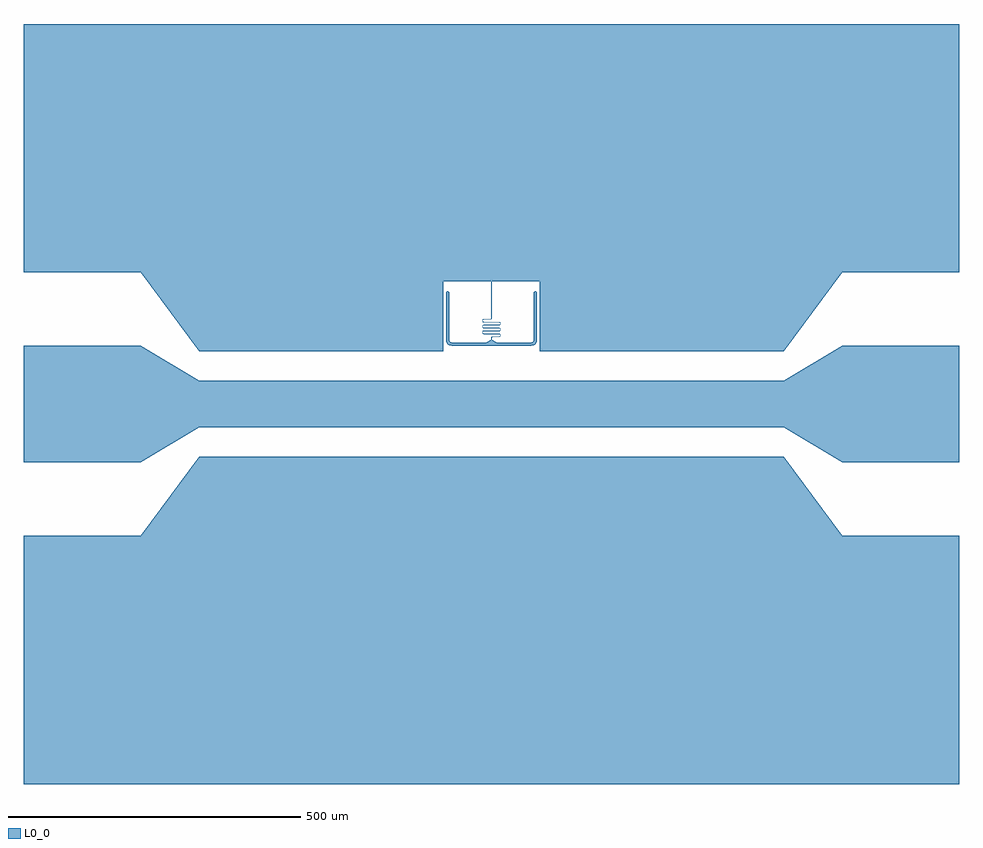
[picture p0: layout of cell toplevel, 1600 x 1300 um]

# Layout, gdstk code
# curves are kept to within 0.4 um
import gdstk
lib = gdstk.Library(unit=1e-6, precision=1e-09)
def P(c, l, *ps):  # polygons
    for p in ps: c.add(gdstk.Polygon(p, *l))
L0_0 = (0, 0)

toplevel = lib.new_cell('toplevel')
P(toplevel, L0_0, [(82.5,210),(82.5,90),(500,90),(600,225),(800,225),(800,650),(-800,650),(-800,225),(-600,225),(-500,90),(-82.5,90),(-82.5,210)],
  [(800,-650),(800,-225),(600,-225),(500,-90),(-500,-90),(-600,-225),(-800,-225),(-800,-650)],
  [(-75.109,192.498),(-76.768,191.768),(-77.498,190.109),(-77.49,110.479),(-76.385,104.964),(-73.184,101.459),(-70.238,100.343),(-66.598,100.003),(66.879,100.007),(72.427,101.063),(76.072,104.369),(77.201,107.478),(77.5,111.406),(77.5,190),(76.25,192.165),(73.75,192.165),(72.502,190.109),(72.493,110.67),(72.03,107.487),(70.724,105.813),(66.336,105.001),(-66.125,105),(-70.83,105.881),(-71.888,107.149),(-72.419,109.296),(-72.502,190.109),(-73.311,191.843)],
  [(0.3,110),(0.337,113.531),(0.553,114.152),(0.98,114.521),(1.955,114.698),(13.736,114.764),(14.456,115.035),(14.958,115.533),(15.232,116.241),(15.3,117.244),(15.261,118.585),(15.004,119.391),(14.445,119.971),(13.585,120.261),(-13.175,120.306),(-14.219,120.6),(-14.658,121.441),(-14.583,123.867),(-14.226,124.395),(-13.559,124.658),(13.289,124.711),(14.05,124.846),(14.634,125.163),(15.028,125.654),(15.247,126.322),(15.292,128.233),(15.112,129.165),(14.573,129.885),(13.678,130.247),(-13.175,130.306),(-14.213,130.595),(-14.652,131.405),(-14.586,133.859),(-14.226,134.395),(-13.559,134.658),(13.278,134.71),(14.027,134.838),(14.603,135.139),(15.004,135.609),(15.236,136.264),(15.294,138.189),(15.121,139.142),(14.583,139.877),(13.678,140.247),(-13.165,140.305),(-14.193,140.581),(-14.643,141.359),(-14.623,143.73),(-14.349,144.281),(-13.842,144.591),(-1.495,144.729),(-0.347,145.18),(0.222,146.194),(0.3,210),(-0.3,210),(-0.362,146.332),(-0.768,145.61),(-1.649,145.317),(-13.002,145.299),(-14.061,145.151),(-14.767,144.712),(-15.177,143.98),(-15.298,143.067),(-15.232,141.241),(-14.997,140.598),(-14.593,140.131),(-14.015,139.834),(-13.267,139.709),(13.559,139.658),(14.226,139.395),(14.586,138.859),(14.649,136.386),(14.206,135.59),(13.175,135.306),(-13.678,135.247),(-14.583,134.877),(-15.117,134.154),(-15.293,133.211),(-15.243,131.299),(-15.022,130.643),(-14.624,130.155),(-14.038,129.842),(-13.278,129.71),(13.559,129.658),(14.226,129.395),(14.586,128.859),(14.655,126.423),(14.213,125.595),(13.175,125.306),(-13.678,125.247),(-14.573,124.885),(-15.112,124.165),(-15.292,123.245),(-15.25,121.345),(-15.034,120.665),(-14.634,120.163),(-14.05,119.846),(-13.289,119.711),(13.503,119.667),(14.138,119.456),(14.513,119.035),(14.7,117.244),(14.465,115.876),(14.109,115.527),(13.54,115.339),(1.922,115.298),(0.721,115.062),(0.1,114.552),(-0.232,113.759),(-0.3,110)],
  [(10,105),(0.3,110),(-0.3,110),(-10,105)],
  [(-500,40),(-600,100),(-800,100),(-800,-100),(-600,-100),(-500,-40),(500,-40),(600,-100),(800,-100),(800,100),(600,100),(500,40)])

lib.write_gds('toplevel.gds')
